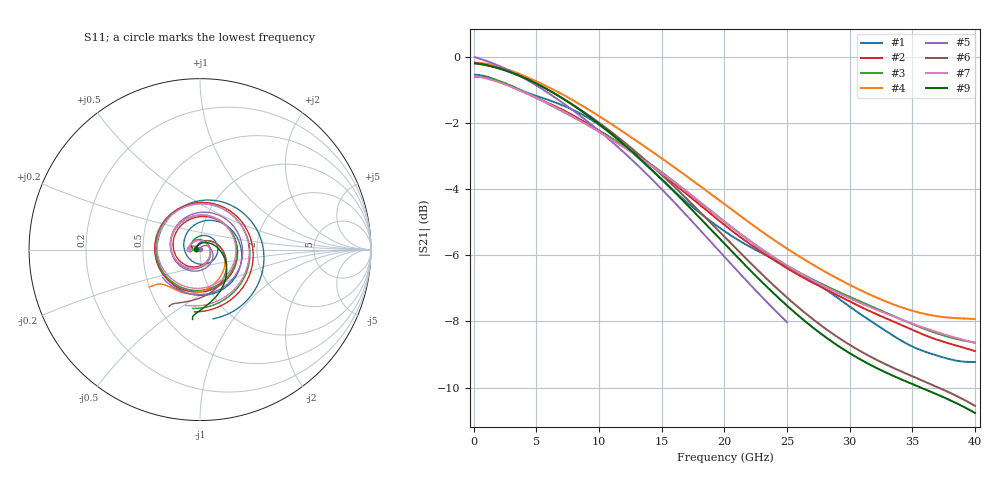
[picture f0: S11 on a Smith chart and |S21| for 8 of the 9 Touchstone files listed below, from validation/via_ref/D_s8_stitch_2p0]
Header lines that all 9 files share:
# Hz S RI R 50
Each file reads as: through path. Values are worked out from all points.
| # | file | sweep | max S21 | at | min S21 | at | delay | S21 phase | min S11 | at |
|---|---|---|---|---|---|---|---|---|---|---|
| 1 | cst.s2p | 100 MHz to 40 GHz | -0.55 dB | 100 MHz | -9.2 dB | 39.7 GHz | 58.2 ps | -80 deg at 20.1 GHz | -24.5 dB | 100 MHz |
| 2 | cst_fine.s2p | 100 MHz to 40 GHz | -0.59 dB | 100 MHz | -8.9 dB | 40 GHz | 58.8 ps | -84 deg at 20.1 GHz | -25.0 dB | 2.8 GHz |
| 3 | kisi.s2p | 100 MHz to 40 GHz | -0.61 dB | 100 MHz | -8.6 dB | 40 GHz | 58.7 ps | -83 deg at 20.1 GHz | -25.5 dB | 2.7 GHz |
| 4 | kisi_deembedded.s2p | 100 MHz to 40 GHz | -0.18 dB | 100 MHz | -7.9 dB | 40 GHz | 11.9 ps | -107 deg at 20.1 GHz | -33.3 dB | 100 MHz |
| 5 | kisi_model.s2p | 100 MHz to 25 GHz | -0.02 dB | 100 MHz | -8.0 dB | 25 GHz | 58.8 ps | 81 deg at 12.6 GHz | -48.8 dB | 100 MHz |
| 6 | ladder.s2p | 100 MHz to 40 GHz | -0.20 dB | 100 MHz | -10.6 dB | 40 GHz | 11.3 ps | -105 deg at 20.1 GHz | -32.8 dB | 100 MHz |
| 7 | openems.s2p | 100 MHz to 40 GHz | -0.59 dB | 100 MHz | -8.6 dB | 40 GHz | 59.2 ps | -86 deg at 20.1 GHz | -25.7 dB | 2.8 GHz |
| 8 | openems_base.s2p | 100 MHz to 40 GHz | -0.59 dB | 100 MHz | -8.7 dB | 40 GHz | 59.3 ps | -87 deg at 20.1 GHz | -25.7 dB | 2.8 GHz |
| 9 | pbm.s2p | 100 MHz to 40 GHz | -0.21 dB | 100 MHz | -10.8 dB | 40 GHz | 10.2 ps | -99 deg at 20.1 GHz | -32.8 dB | 200 MHz |
